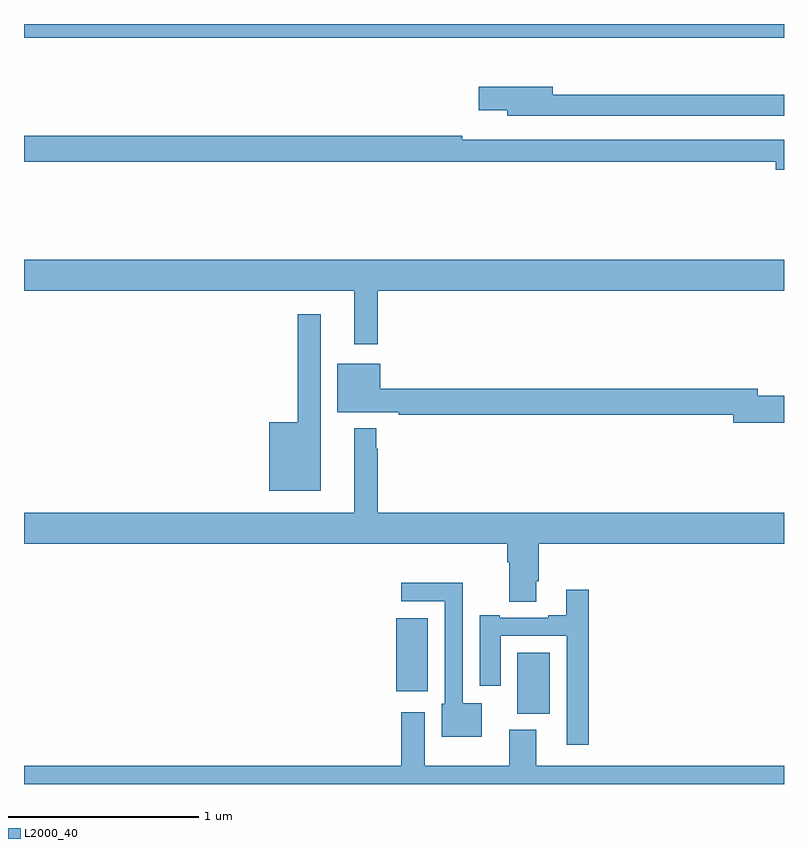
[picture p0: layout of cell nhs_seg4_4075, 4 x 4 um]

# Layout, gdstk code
import gdstk
lib = gdstk.Library(unit=1e-6, precision=1e-09)
def R(c, l, rs):  # rectangles x0, y0, x1, y1
    for r in rs: c.add(gdstk.rectangle(r[:2], r[2:], *l))
def P(c, l, *ps):  # polygons
    for p in ps: c.add(gdstk.Polygon(p, *l))
L2000_40 = (2000, 40)

nhs_seg4_4075 = lib.new_cell('nhs_seg4_4075')
R(nhs_seg4_4075, L2000_40, [(329.597,785.27,329.767,785.59), (328.958,785.387,329.125,785.773), (327,788.828,331,788.9)])
P(nhs_seg4_4075, L2000_40, [(331,788.527),(329.782,788.527),(329.782,788.569),(329.394,788.569),(329.394,788.447),(329.543,788.447),(329.543,788.418),(331,788.418)],
  [(331,788.292),(329.306,788.292),(329.306,788.312),(327,788.312),(327,788.176),(330.956,788.176),(330.956,788.134),(331,788.134)],
  [(328.861,787.496),(331,787.496),(331,787.66),(327,787.66),(327,787.496),(328.739,787.496),(328.739,787.215),(328.861,787.215)],
  [(328.561,787.372),(328.44,787.372),(328.44,786.805),(328.292,786.805),(328.292,786.443),(328.561,786.443)],
  [(331,786.944),(330.862,786.944),(330.862,786.98),(328.876,786.98),(328.876,787.111),(328.649,787.111),(328.649,786.857),(328.972,786.857),(328.972,786.844),(330.734,786.844),(330.734,786.802),(331,786.802)],
  [(329.695,785.968),(329.708,785.968),(329.708,786.164),(331,786.164),(331,786.328),(328.861,786.328),(328.861,786.665),(328.854,786.665),(328.854,786.772),(328.739,786.772),(328.739,786.328),(327,786.328),(327,786.164),(329.543,786.164),(329.543,786.068),(329.555,786.068),(329.555,785.86),(329.695,785.86)],
  [(329.41,785.326),(329.31,785.326),(329.31,785.96),(328.986,785.96),(328.986,785.862),(329.214,785.862),(329.214,785.322),(329.198,785.322),(329.198,785.15),(329.41,785.15)],
  [(329.972,785.923),(329.855,785.923),(329.855,785.788),(329.759,785.788),(329.759,785.775),(329.503,785.775),(329.503,785.788),(329.399,785.788),(329.399,785.418),(329.509,785.418),(329.509,785.679),(329.856,785.679),(329.856,785.106),(329.972,785.106)],
  [(331,784.996),(329.695,784.996),(329.695,785.185),(329.555,785.185),(329.555,784.996),(329.11,784.996),(329.11,785.278),(328.985,785.278),(328.985,784.996),(327,784.996),(327,784.9),(331,784.9)])

lib.write_gds('nhs_seg4_4075.gds')
